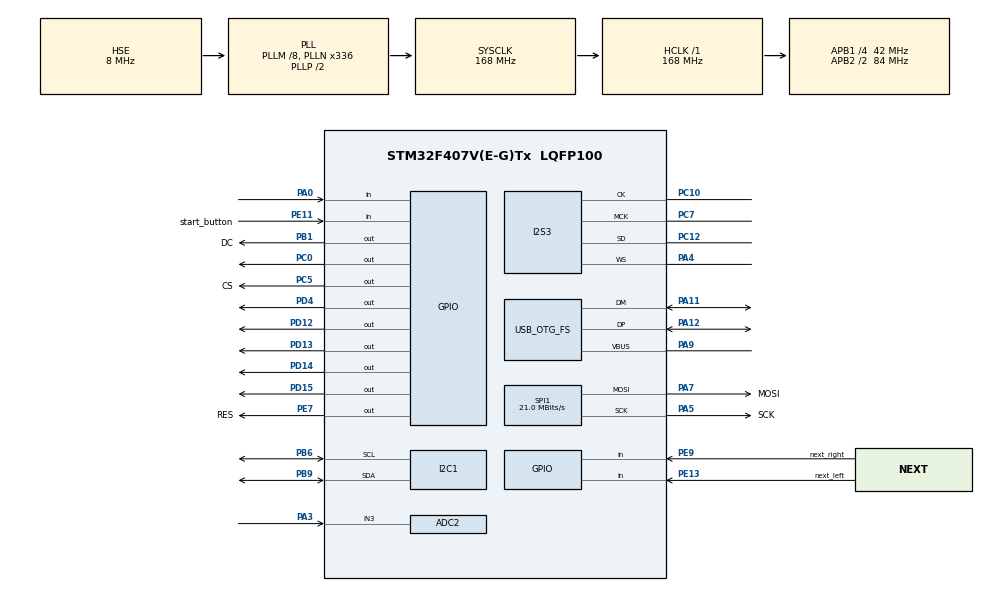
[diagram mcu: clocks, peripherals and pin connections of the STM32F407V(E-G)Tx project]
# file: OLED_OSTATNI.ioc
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ADC2.Channel-0\#ChannelRegularConversion=ADC_CHANNEL_3
ADC2.ContinuousConvMode=ENABLE
ADC2.NbrOfConversionFlag=1
ADC2.Rank-0\#ChannelRegularConversion=1
ADC2.SamplingTime-0\#ChannelRegularConversion=ADC_SAMPLETIME_56CYCLES
Dma.Request0=SPI3_TX
Dma.SPI3_TX.0.Direction=DMA_MEMORY_TO_PERIPH
Dma.SPI3_TX.0.FIFOMode=DMA_FIFOMODE_ENABLE
Dma.SPI3_TX.0.FIFOThreshold=DMA_FIFO_THRESHOLD_FULL
Dma.SPI3_TX.0.Instance=DMA1_Stream5
Dma.SPI3_TX.0.MemBurst=DMA_MBURST_SINGLE
Dma.SPI3_TX.0.MemDataAlignment=DMA_MDATAALIGN_HALFWORD
Dma.SPI3_TX.0.MemInc=DMA_MINC_ENABLE
Dma.SPI3_TX.0.Mode=DMA_CIRCULAR
Dma.SPI3_TX.0.PeriphBurst=DMA_PBURST_SINGLE
Dma.SPI3_TX.0.PeriphDataAlignment=DMA_PDATAALIGN_HALFWORD
Dma.SPI3_TX.0.PeriphInc=DMA_PINC_DISABLE
Dma.SPI3_TX.0.Priority=DMA_PRIORITY_LOW
I2S3.ErrorAudioFreq=0.23 %
I2S3.FullDuplexMode=I2S_FULLDUPLEXMODE_DISABLE
I2S3.Instance=SPI$Index
I2S3.RealAudioFreq=8.019 KHz
I2S3.VirtualMode=I2S_MODE_MASTER
Mcu.Family=STM32F4
Mcu.Name=STM32F407V(E-G)Tx
Mcu.Package=LQFP100
NVIC.ADC_IRQn=true\:0\:0\:false\:false\:true\:true\:true
NVIC.DMA1_Stream5_IRQn=true\:0\:0\:false\:false\:true\:false\:true
NVIC.OTG_FS_IRQn=true\:0\:0\:false\:false\:true\:false\:true
NVIC.PVD_IRQn=true\:0\:0\:false\:false\:true\:true\:true
NVIC.PriorityGroup=NVIC_PRIORITYGROUP_0
NVIC.TIM2_IRQn=true\:0\:0\:false\:false\:true\:true\:true
NVIC.TIM3_IRQn=true\:0\:0\:false\:false\:true\:true\:true
PA0-WKUP.Signal=GPIO_Input
PA11.Mode=Host_Only
PA11.Signal=USB_OTG_FS_DM
PA12.Mode=Host_Only
PA12.Signal=USB_OTG_FS_DP
PA3.Signal=ADCx_IN3
PA4.Mode=Half_Duplex_Master
PA4.Signal=I2S3_WS
PA5.GPIO_Label=SCK
PA5.GPIO_Mode=GPIO_MODE_AF_PP
PA5.GPIO_PuPd=GPIO_NOPULL
PA5.GPIO_Speed=GPIO_SPEED_FREQ_LOW
PA5.Mode=TX_Only_Simplex_Unidirect_Master
PA5.Signal=SPI1_SCK
PA7.GPIO_Label=MOSI
PA7.GPIO_Mode=GPIO_MODE_AF_PP
PA7.GPIO_PuPd=GPIO_NOPULL
PA7.GPIO_Speed=GPIO_SPEED_FREQ_LOW
PA7.Mode=TX_Only_Simplex_Unidirect_Master
PA7.Signal=SPI1_MOSI
PA9.Mode=Activate_VBUS
PA9.Signal=USB_OTG_FS_VBUS
PB1.GPIO_Label=DC
PB1.Signal=GPIO_Output
PB6.Mode=I2C
PB6.Signal=I2C1_SCL
PB9.Mode=I2C
PB9.Signal=I2C1_SDA
PC0.Signal=GPIO_Output
PC10.Mode=Half_Duplex_Master
PC10.Signal=I2S3_CK
PC12.Mode=Half_Duplex_Master
PC12.Signal=I2S3_SD
PC5.GPIO_Label=CS
PC5.Signal=GPIO_Output
PC7.Mode=Master_Clock_Activated
PC7.Signal=I2S3_MCK
PD12.Signal=GPIO_Output
PD13.Signal=GPIO_Output
PD14.Signal=GPIO_Output
PD15.Signal=GPIO_Output
PD4.Signal=GPIO_Output
PE11.GPIO_Label=start_button
PE11.Signal=GPIO_Input
PE13.GPIO_Label=next_left
PE13.Signal=GPIO_Input
PE7.GPIO_Label=RES
PE7.Signal=GPIO_Output
PE9.GPIO_Label=next_right
PE9.Signal=GPIO_Input
PH0-OSC_IN.Mode=HSE-External-Oscillator
PH0-OSC_IN.Signal=RCC_OSC_IN
PH1-OSC_OUT.Mode=HSE-External-Oscillator
PH1-OSC_OUT.Signal=RCC_OSC_OUT
ProjectManager.HeapSize=0x2000
ProjectManager.StackSize=0x2000
ProjectManager.TargetToolchain=STM32CubeIDE
RCC.48MHZClocksFreq_Value=48000000
RCC.AHBFreq_Value=168000000
RCC.APB1CLKDivider=RCC_HCLK_DIV4
RCC.APB1Freq_Value=42000000
RCC.APB1TimFreq_Value=84000000
RCC.APB2CLKDivider=RCC_HCLK_DIV2
RCC.APB2Freq_Value=84000000
RCC.APB2TimFreq_Value=168000000
RCC.CortexFreq_Value=168000000
RCC.HCLKFreq_Value=168000000
RCC.HSE_VALUE=8000000
RCC.HSI_VALUE=16000000
RCC.LSE_VALUE=32768
RCC.PLLI2SN=271
RCC.PLLI2SR=6
RCC.PLLM=8
RCC.PLLN=336
RCC.PLLQ=7
RCC.SYSCLKFreq_VALUE=168000000
RCC.SYSCLKSource=RCC_SYSCLKSOURCE_PLLCLK
RCC.VCOOutputFreq_Value=336000000
SH.ADCx_IN3.0=ADC2_IN3,IN3
SPI1.BaudRatePrescaler=SPI_BAUDRATEPRESCALER_4
SPI1.CLKPhase=SPI_PHASE_1EDGE
SPI1.CLKPolarity=SPI_POLARITY_HIGH
SPI1.CalculateBaudRate=21.0 MBits/s
SPI1.Direction=SPI_DIRECTION_2LINES
SPI1.Mode=SPI_MODE_MASTER
SPI1.VirtualType=VM_MASTER
TIM2.Period=8399
TIM2.Prescaler=9999
TIM3.Period=1049
TIM3.Prescaler=9999
USB_HOST.USBH_HandleTypeDef-MSC_FS=hUsbHostFS
USB_HOST.VirtualModeFS=Msc
USB_OTG_FS.VirtualMode=Host_Only
USB_OTG_FS.phy_itface=HCD_PHY_EMBEDDED
VP_FATFS_VS_USB.Mode=USB
VP_TIM2_VS_ClockSourceINT.Mode=Internal
VP_TIM3_VS_ClockSourceINT.Mode=Internal
VP_USB_HOST_VS_USB_HOST_MSC_FS.Mode=MSC_FS
board=STM32F407G-DISC1

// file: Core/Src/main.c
/* USER CODE BEGIN Header */
/**
  ******************************************************************************
  * @file           : main.c
  * @brief          : Main program body
  ******************************************************************************
  * @attention
  *
  * <h2><center>&copy; Copyright (c) 2020 STMicroelectronics.
  * All rights reserved.</center></h2>
  *
  * This software component is licensed by ST under Ultimate Liberty license
  * SLA0044, the "License"; You may not use this file except in compliance with
  * the License. You may obtain a copy of the License at:
  *                             www.st.com/SLA0044
  *
  ******************************************************************************
  */
/* USER CODE END Header */

#include "main.h"
#include "adc.h"
#include "dma.h"
#include "fatfs.h"
#include "i2c.h"
#include "i2s.h"
#include "spi.h"
#include "tim.h"
#include "usb_host.h"
#include "gpio.h"

/* USER CODE BEGIN Includes */
#include "SSD1331.h"
#include "audioI2S.h"
#include "MY_CS43L22.h"
#include "wav_player.h"
/* USER CODE END Includes */

/* USER CODE BEGIN PTD */
extern ApplicationTypeDef Appli_state;
/* USER CODE END PTD */

/* USER CODE BEGIN PV */

float potencjometr;
float potencjometr_255;
int potencjometr_255_int=100;

int volume = 7;
int old_volume = 0;
int actually_track = 0;
int last_track=0;
int seconds = 0;
int tens_of_seconds = 0;
int minutes = 0;
char time[10];
char time_clear[10];

bool is_playing=false;
const char* tracks[3];

void SystemClock_Config(void);
void MX_USB_HOST_Process(void);

/* USER CODE BEGIN 0 */
void HAL_ADC_ConvCpltCallback(ADC_HandleTypeDef* hadc){
	 potencjometr = HAL_ADC_GetValue(&hadc2);
	 potencjometr_255 = (potencjometr/4300.0)*255;
	 potencjometr_255_int = potencjometr_255;
	 volume = potencjometr_255 / 24;
	 HAL_ADC_Start_IT(&hadc2);
}
void HAL_TIM_PeriodElapsedCallback(TIM_HandleTypeDef *htim){
 if(htim->Instance == TIM2){
 	 HAL_GPIO_TogglePin(GPIOD, GPIO_PIN_15);
 	 if(is_playing)
 	 {
 	ssd1331_display_string(28, 27, time, FONT_1608, BLACK);
 	 if (seconds == 10)
 	        {
 	            seconds = 0;
 	            tens_of_seconds++;
 	        }
 	        if (tens_of_seconds == 6)
 	        {
 	            tens_of_seconds = 0;
 	            minutes++;
 	        }
 	        sprintf(time,"%d:%d%d", minutes, tens_of_seconds, seconds);
 	        ssd1331_display_string(28, 27, time, FONT_1608, BLUE);
 	        seconds++;
 	 }

 }
 if(htim->Instance == TIM3){
 	CS43_SetVolume(potencjometr_255_int);//0-255
 	if(volume!=old_volume)
	{
		ssd1331_display_num(38, 12, old_volume, sizeof(old_volume), FONT_1608, BLACK);
		ssd1331_display_num(38, 12, volume, sizeof(volume), FONT_1608, GREEN);
		old_volume = volume;
	}
  }

}
/* USER CODE END 0 */

int main(void)
{

  /* MCU Configuration--------------------------------------------------------*/

  /* Reset of all peripherals, Initializes the Flash interface and the Systick. */
  HAL_Init();

  /* USER CODE BEGIN Init */
  tracks[0] = "Metin2.wav";
  tracks[1] = "Mario.wav";
  tracks[2] = "Polo.wav";
  /* USER CODE END Init */

  /* Configure the system clock */
  SystemClock_Config();

  /* Initialize all configured peripherals */
  MX_GPIO_Init();
  MX_DMA_Init();
  MX_SPI1_Init();
  MX_I2C1_Init();
  MX_I2S3_Init();
  MX_USB_HOST_Init();
  MX_FATFS_Init();
  MX_ADC2_Init();
  MX_TIM3_Init();
  MX_TIM2_Init();
  /* USER CODE BEGIN 2 */
	ssd1331_init();
	ssd1331_clear_screen(BLACK);
	ssd1331_display_string(0, 15, "GLOSNOSC:", FONT_1206, GREEN);
	ssd1331_display_string(0, 30, "CZAS:", FONT_1206, BLUE);
	ssd1331_display_string(30, 45, "2020", FONT_1206, YELLOW);

	CS43_Init(hi2c1, MODE_I2S);
	  CS43_SetVolume(180);//0-255
	  CS43_Enable_RightLeft(CS43_RIGHT_LEFT);

	  audioI2S_setHandle(&hi2s3);

	  bool isSdCardMounted=0;
	  bool pauseResumeToggle=0;

	  HAL_ADC_Start_IT(&hadc2);
	  HAL_TIM_Base_Start_IT(&htim3);
	  HAL_TIM_Base_Start_IT(&htim2);

  /* USER CODE END 2 */

  /* Infinite loop */
  while (1)
  {
    MX_USB_HOST_Process();

    /* USER CODE BEGIN 3 */
    if(Appli_state == APPLICATION_START)
        {
          HAL_GPIO_WritePin(GPIOD, GPIO_PIN_12, GPIO_PIN_SET);
        }
        else if(Appli_state == APPLICATION_DISCONNECT)
        {
          HAL_GPIO_WritePin(GPIOD, GPIO_PIN_12, GPIO_PIN_RESET);
          f_mount(NULL, (TCHAR const*)"", 0);
          isSdCardMounted = 0;

        }

        if(Appli_state == APPLICATION_READY)
        {
            seconds = 0;
            tens_of_seconds = 0;
            minutes = 0;

          if(!isSdCardMounted)
          {
            f_mount(&USBHFatFS, (const TCHAR*)USBHPath, 0);
            isSdCardMounted = 1;
          }
          if(!HAL_GPIO_ReadPin(start_button_GPIO_Port, start_button_Pin))
          {

              if(actually_track>2)
              {
              	actually_track = 0;
              }
              else if(actually_track<0)
              {
            	  actually_track = 2;
              }
              if(last_track>2)
              {
            	  last_track = 0;
              }
              else if(last_track<0)
              {
            	  last_track = 2;
              }
           ssd1331_display_string(0, 0, tracks[last_track], FONT_1206, BLACK);
           ssd1331_display_string(0, 0, tracks[actually_track], FONT_1206, RED);

           HAL_GPIO_WritePin(GPIOD, GPIO_PIN_13, GPIO_PIN_SET);

            HAL_Delay(500);
            wavPlayer_fileSelect(tracks[actually_track]);

            wavPlayer_play();
            is_playing = true;

            while(!wavPlayer_isFinished())
            {
              wavPlayer_process();

              if(!HAL_GPIO_ReadPin(next_right_GPIO_Port, next_right_Pin))
              {
            	  actually_track++;
            	  last_track = actually_track;
            	  last_track--;
            	  wavPlayer_stop();
              }

              if(!HAL_GPIO_ReadPin(next_left_GPIO_Port, next_left_Pin))
              {
            	  actually_track--;
            	  last_track = actually_track;
            	  last_track++;
            	  wavPlayer_stop();
              }

              if(!HAL_GPIO_ReadPin(start_button_GPIO_Port, start_button_Pin))
              {
                pauseResumeToggle^=1;
                if(pauseResumeToggle)
                {

                  HAL_GPIO_WritePin(GPIOD, GPIO_PIN_14, GPIO_PIN_SET);
                  wavPlayer_pause();
                  is_playing = false;
                  HAL_Delay(500);
                }
                else
                {
                  HAL_GPIO_WritePin(GPIOD, GPIO_PIN_14, GPIO_PIN_RESET);
                  HAL_Delay(1000);
                  if(!HAL_GPIO_ReadPin(start_button_GPIO_Port, start_button_Pin))
                  {

                    wavPlayer_stop();
                  }

                	  is_playing = true;
                    wavPlayer_resume();

                }
              }
            }

            HAL_GPIO_WritePin(GPIOD, GPIO_PIN_13, GPIO_PIN_RESET);
            HAL_Delay(1000);
          }
        }
  }
  /* USER CODE END 3 */
}

void SystemClock_Config(void)
{
  RCC_OscInitTypeDef RCC_OscInitStruct = {0};
  RCC_ClkInitTypeDef RCC_ClkInitStruct = {0};
  RCC_PeriphCLKInitTypeDef PeriphClkInitStruct = {0};

  /** Configure the main internal regulator output voltage
  */
  __HAL_RCC_PWR_CLK_ENABLE();
  __HAL_PWR_VOLTAGESCALING_CONFIG(PWR_REGULATOR_VOLTAGE_SCALE1);
  /** Initializes the CPU, AHB and APB busses clocks
  */
  RCC_OscInitStruct.OscillatorType = RCC_OSCILLATORTYPE_HSE;
  RCC_OscInitStruct.HSEState = RCC_HSE_ON;
  RCC_OscInitStruct.PLL.PLLState = RCC_PLL_ON;
  RCC_OscInitStruct.PLL.PLLSource = RCC_PLLSOURCE_HSE;
  RCC_OscInitStruct.PLL.PLLM = 8;
  RCC_OscInitStruct.PLL.PLLN = 336;
  RCC_OscInitStruct.PLL.PLLP = RCC_PLLP_DIV2;
  RCC_OscInitStruct.PLL.PLLQ = 7;
  if (HAL_RCC_OscConfig(&RCC_OscInitStruct) != HAL_OK)
  {
    Error_Handler();
  }
  /** Initializes the CPU, AHB and APB busses clocks
  */
  RCC_ClkInitStruct.ClockType = RCC_CLOCKTYPE_HCLK|RCC_CLOCKTYPE_SYSCLK
                              |RCC_CLOCKTYPE_PCLK1|RCC_CLOCKTYPE_PCLK2;
  RCC_ClkInitStruct.SYSCLKSource = RCC_SYSCLKSOURCE_PLLCLK;
  RCC_ClkInitStruct.AHBCLKDivider = RCC_SYSCLK_DIV1;
  RCC_ClkInitStruct.APB1CLKDivider = RCC_HCLK_DIV4;
  RCC_ClkInitStruct.APB2CLKDivider = RCC_HCLK_DIV2;

  if (HAL_RCC_ClockConfig(&RCC_ClkInitStruct, FLASH_LATENCY_5) != HAL_OK)
  {
    Error_Handler();
  }
  PeriphClkInitStruct.PeriphClockSelection = RCC_PERIPHCLK_I2S;
  PeriphClkInitStruct.PLLI2S.PLLI2SN = 271;
  PeriphClkInitStruct.PLLI2S.PLLI2SR = 6;
  if (HAL_RCCEx_PeriphCLKConfig(&PeriphClkInitStruct) != HAL_OK)
  {
    Error_Handler();
  }
}

void Error_Handler(void)
{
}

/************************ (C) COPYRIGHT STMicroelectronics *****END OF FILE****/
